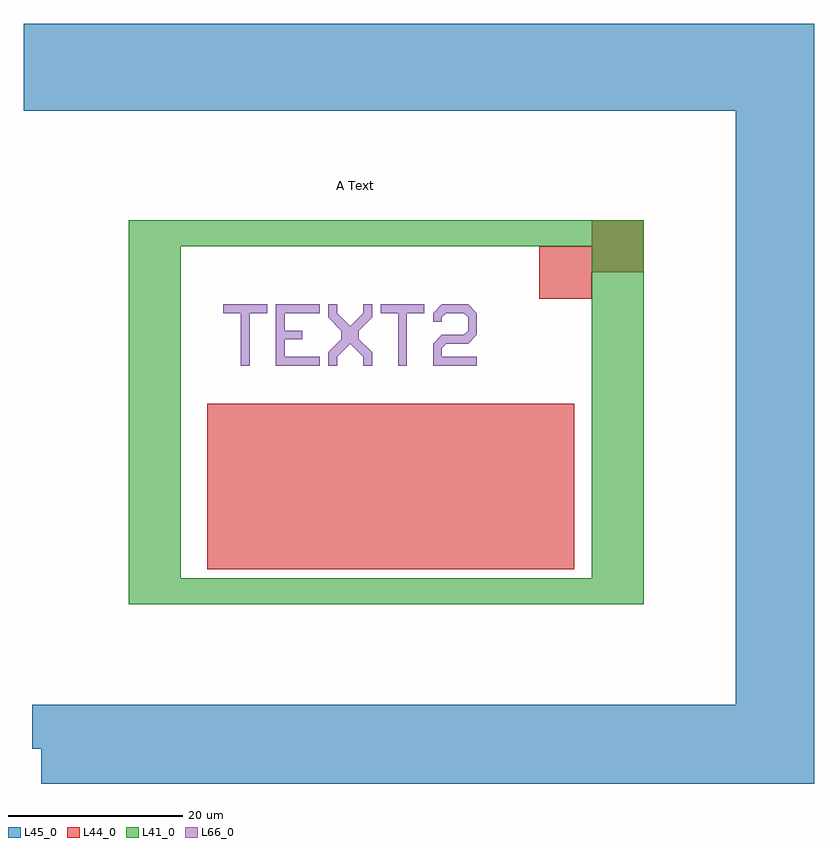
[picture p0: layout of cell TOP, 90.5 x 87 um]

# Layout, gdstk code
import gdstk
lib = gdstk.Library(unit=1e-6, precision=1e-09)
def R(c, l, rs):  # rectangles x0, y0, x1, y1
    for r in rs: c.add(gdstk.rectangle(r[:2], r[2:], *l))
def P(c, l, *ps):  # polygons
    for p in ps: c.add(gdstk.Polygon(p, *l))
L41_0 = (41, 0)
L44_0 = (44, 0)
L45_0 = (45, 0)
L66_0 = (66, 0)

text = lib.new_cell('TEXT')
P(text, L66_0, [(2,0),(2,6),(0,6),(0,7),(5,7),(5,6),(3,6),(3,0)],
  [(6,0),(6,7),(11,7),(11,6),(7,6),(7,4),(9,4),(9,3),(7,3),(7,1),(11,1),(11,0)],
  [(12,0),(12,1.5),(13.5,3),(13.5,4),(12,5.5),(12,7),(13,7),(13,6),(14.5,4.5),(16,6),(16,7),(17,7),(17,5.5),(15.5,4),(15.5,3),(17,1.5),(17,0),(16,0),(16,1),(14.5,2.5),(13,1),(13,0)],
  [(20,0),(20,6),(18,6),(18,7),(23,7),(23,6),(21,6),(21,0)])

text_1 = lib.new_cell('TEXT$1')
P(text_1, L66_0, [(2,0),(2,6),(0,6),(0,7),(5,7),(5,6),(3,6),(3,0)],
  [(6,0),(6,7),(11,7),(11,6),(7,6),(7,4),(9,4),(9,3),(7,3),(7,1),(11,1),(11,0)],
  [(12,0),(12,1.5),(13.5,3),(13.5,4),(12,5.5),(12,7),(13,7),(13,6),(14.5,4.5),(16,6),(16,7),(17,7),(17,5.5),(15.5,4),(15.5,3),(17,1.5),(17,0),(16,0),(16,1),(14.5,2.5),(13,1),(13,0)],
  [(20,0),(20,6),(18,6),(18,7),(23,7),(23,6),(21,6),(21,0)],
  [(24,0),(24,2.5),(25,3.5),(27.5,3.5),(28,4),(28,5.5),(27.5,6),(25.5,6),(25,5.5),(25,5),(24,5),(24,6),(25,7),(28,7),(29,6),(29,3.5),(28,2.5),(25.5,2.5),(25,2),(25,1),(29,1),(29,0)])

top = lib.new_cell('TOP')
R(top, L41_0, [(-30,-12,-27,29), (-27,-12,-24,29), (-27,-12,29,-9), (-24,-12,26,-9), (23,-9,26,29), (26,-9,29,29), (-30,29,29,32), (-27,29,26,32)])
R(top, L44_0, [(-21,-8,21,11), (-21,-8,21,11), (17,23,23,29), (23,26,29,32)])
top.add(gdstk.FlexPath([(-42,47),(42,47),(42,-26),(-41,-26)], 5, ends="flush", simple_path=True, layer=45, datatype=0))  # L45_0
top.add(gdstk.FlexPath([(-42,52),(46,52),(46,-30),(-40,-30)], 5, ends="flush", simple_path=True, layer=45, datatype=0))  # L45_0
top.add(gdstk.Reference(text, (-19.13,15.35)))
top.add(gdstk.Reference(text_1, (-19.13,15.35)))
top.add(gdstk.Label('A Text', (-4,36), layer=66, texttype=0))
top.add(gdstk.Label('A Text', (-4,36), layer=66, texttype=0))

lib.write_gds('TOP.gds')
